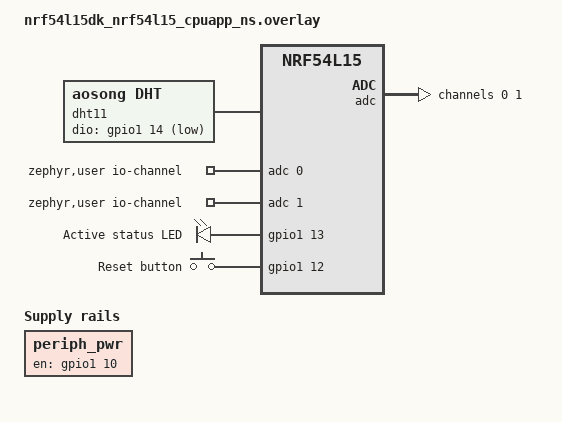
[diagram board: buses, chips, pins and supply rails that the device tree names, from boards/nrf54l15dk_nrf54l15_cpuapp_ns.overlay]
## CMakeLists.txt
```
cmake_minimum_required(VERSION 3.20.0)
find_package(Zephyr REQUIRED HINTS $ENV{ZEPHYR_BASE})

project(sensor_ble)

file(GLOB_RECURSE SOURCE CONFIGGURE_DEPENDS "src/*.c")

target_sources(app PRIVATE ${SOURCE})
```

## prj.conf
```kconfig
CONFIG_LOG=y

CONFIG_GPIO=y
CONFIG_REGULATOR=y
CONFIG_SENSOR=y
CONFIG_DHT_LOCK_IRQS=y
CONFIG_ADC=y

CONFIG_BT=y
CONFIG_BT_DEVICE_NAME="GHMA_Sensor"

CONFIG_REBOOT=y
```

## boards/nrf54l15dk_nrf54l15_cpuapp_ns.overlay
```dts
/ {
	dht11: dht11 {
		compatible = "aosong,dht";
		status = "okay";
		dio-gpios = <&gpio1 14 (GPIO_PULL_UP | GPIO_ACTIVE_LOW)>;
	};

	zephyr,user {
		io-channels = <&adc 0>, <&adc 1>;
	};

	leds {
		compatible = "gpio-leds";

		led_active: led-active {
			gpios = <&gpio1 13 GPIO_ACTIVE_HIGH>;
			label = "Active status LED";
		};
	};

	buttons {
		compatible = "gpio-keys";

		reset_btn: reset-btn {
			gpios = <&gpio1 12 (GPIO_PULL_UP | GPIO_ACTIVE_HIGH)>;
			label = "Reset button";
		};
	};

	periph_pwr: periph-pwr {
		compatible = "regulator-fixed";
		regulator-name = "Peripheral power regulator";
		enable-gpios = <&gpio1 10 (GPIO_PULL_UP | GPIO_ACTIVE_HIGH)>;
		regulator-boot-off;
		startup-delay-us = <0>;
		off-on-delay-us = <0>;
	};
};

&adc {
	#address-cells = <1>;
	#size-cells = <0>;
	status = "okay";

	channel@0 {
		reg = <0>;
		zephyr,gain = "ADC_GAIN_1";
		zephyr,reference = "ADC_REF_INTERNAL";
		zephyr,acquisition-time = <ADC_ACQ_TIME_DEFAULT>;
		zephyr,input-positive = <NRF_SAADC_AIN4>; /* P1.11 */
		zephyr,resolution = <12>;
	};

	channel@1 {
		reg = <1>;
		zephyr,gain = "ADC_GAIN_1";
		zephyr,reference = "ADC_REF_INTERNAL";
		zephyr,acquisition-time = <ADC_ACQ_TIME_DEFAULT>;
		zephyr,input-positive = <NRF_SAADC_AIN2>; /* P1.06 */
		zephyr,resolution = <12>;
		zephyr,oversampling = <8>;
	};
};
```

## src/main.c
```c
#include <zephyr/kernel.h>
#include <zephyr/logging/log.h>
#include <zephyr/drivers/gpio.h>
#include <zephyr/sys/reboot.h>

#include "sensors.h"
#include "ble_comm.h"

#define SENSOR_ID 1

#define SENSOR_DELAY 5 ///< Delay in minutes for the sensor data sending loop
#define SENSOR_DELAY_SEC SENSOR_DELAY * 60
#define SENSOR_DELAY_MSEC SENSOR_DELAY_SEC * 1000
#define PERIPH_PREP_PERIOD 40 ///< Time in seconds to power on peripherals before reading data
#define PERIPH_PREP_PERIOD_MSEC PERIPH_PREP_PERIOD * 1000
#define BT_ACTIVE_PERIOD 500 ///< Time in miliseconds the data is being advertised for
#define RESET_BTN_DELAY 10 ///< Time in seconds the reset button should be hold to reset sensor with setting master id to MASTER_DEFAULT

#define SENS_THREAD_STACK_SIZE 512
#define SENS_THREAD_PRIORITY 5

LOG_MODULE_REGISTER(main, LOG_LEVEL_INF);

#define LED_ACTIVE DT_NODELABEL(led_active)
#define RESET_BTN DT_NODELABEL(reset_btn)

static const struct gpio_dt_spec led_active = GPIO_DT_SPEC_GET(LED_ACTIVE, gpios);
static const struct gpio_dt_spec reset_btn = GPIO_DT_SPEC_GET(RESET_BTN, gpios);

static volatile uint8_t reset_btn_state = 0;
static struct gpio_callback reset_cb;
static void reset_isr(const struct device *dev, struct gpio_callback *cb, gpio_port_pins_t pins);

static struct k_work reset_work;
static void reset_work_handler(struct k_work *work);

static struct SENS_DATA data = {
        .sensor_id = SENSOR_ID,
};

void sens_thread_handling(void);
void reset_handling(struct k_timer *dummy);

K_TIMER_DEFINE(reset_timer, reset_handling, NULL);

int main(void){
        int err;

        LOG_INF("main started");

        if (!gpio_is_ready_dt(&led_active)){
            LOG_ERR("led_active is not ready");
            return -1;
        }
        gpio_pin_configure_dt(&led_active, (GPIO_OUTPUT | GPIO_PULL_UP | GPIO_ACTIVE_HIGH));

        if (!gpio_is_ready_dt(&reset_btn)){
                LOG_ERR("reset_btn is not ready");
                return -1;
        }
        gpio_pin_configure_dt(&reset_btn, (GPIO_INPUT | GPIO_PULL_DOWN));

        gpio_init_callback(&reset_cb, reset_isr, BIT(reset_btn.pin));
        gpio_add_callback_dt(&reset_btn, &reset_cb);
        gpio_pin_interrupt_configure_dt(&reset_btn, GPIO_INT_EDGE_BOTH);

        err = sensors_init(PERIPH_PREP_PERIOD);
        if (err){
                LOG_ERR("sensor_init() failed, err: %d", err);
                return -1;
        }

        err = ble_init();
        if (err){
                LOG_ERR("ble_adv_init failed, err: %d", err);
                return -1;
        }

        k_work_init(&reset_work, reset_work_handler);

        return 0;
}

K_THREAD_DEFINE(sensor_thread, SENS_THREAD_STACK_SIZE, sens_thread_handling, NULL, NULL, NULL, SENS_THREAD_PRIORITY, 0, 0);
void sens_thread_handling(void){
        int err;

        while (1){
                gpio_pin_set_dt(&led_active, 1);

                err = sensors_read(&data);
                if (err){
                        LOG_ERR("sensor_read() failed, err: %d", err);
                        return;
                }

                err = ble_start(&data);
                if (err){
                        LOG_ERR("ble_start failed, err: %d", err);
                        return;
                }

                k_sleep(K_MSEC(BT_ACTIVE_PERIOD));

                err = ble_stop();
                if (err){
                        LOG_ERR("ble_stop failed, err: %d", err);
                        return;
                }
                
                gpio_pin_set_dt(&led_active, 0);

                k_sleep(K_MSEC(SENSOR_DELAY_MSEC - PERIPH_PREP_PERIOD_MSEC - BT_ACTIVE_PERIOD));
        }
}

void reset_handling(struct k_timer *dummy){
        irq_lock();

        LOG_INF("Rebooting system...");

        gpio_pin_set_dt(&led_active, 0);

        sys_reboot(SYS_REBOOT_COLD);
        while (1){}
}

void reset_isr(const struct device *dev, struct gpio_callback *cb, gpio_port_pins_t pins){
        reset_btn_state = gpio_pin_get_dt(&reset_btn);
        
        if (reset_btn_state){
                k_timer_start(&reset_timer, K_SECONDS(RESET_BTN_DELAY), K_FOREVER);
                k_work_submit(&reset_work);
        }else{
                k_timer_stop(&reset_timer);
        }
}


void reset_work_handler(struct k_work *work){
        uint8_t led_state = gpio_pin_get_dt(&led_active);

        while (reset_btn_state){
                gpio_pin_toggle_dt(&led_active);
                k_sleep(K_MSEC(500));
        }

        gpio_pin_set_dt(&led_active, led_state);
}
```

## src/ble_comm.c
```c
#include "ble_comm.h"

#define DEVICE_NAME CONFIG_BT_DEVICE_NAME
#define DEVICE_NAME_LEN (sizeof(DEVICE_NAME) - 1)

#define ENV_SENSING_SERV_UUID 0x181A

LOG_MODULE_REGISTER(ble_comm, LOG_LEVEL_ERR);

static const struct bt_le_adv_param *adv_param = BT_LE_ADV_PARAM(
    BT_LE_ADV_OPT_NONE,
    320,
    320,
    NULL
);

static struct ServiceData service_data = {
    .uuid = ENV_SENSING_SERV_UUID,
    .data = {
        .temperature = 0,
        .humidity = 0,
        .co2 = 0,
        .soil_moisture = 0,
    }
};

static const struct bt_data ad[] = {
    BT_DATA_BYTES(BT_DATA_FLAGS, (BT_LE_AD_GENERAL | BT_LE_AD_NO_BREDR)),
    BT_DATA(BT_DATA_NAME_COMPLETE, DEVICE_NAME, DEVICE_NAME_LEN),
    BT_DATA_BYTES(BT_DATA_UUID16_ALL, BT_UUID_16_ENCODE(ENV_SENSING_SERV_UUID)),
    BT_DATA(BT_DATA_SVC_DATA16, (unsigned char *)&service_data, sizeof(service_data)),
};

uint8_t ble_init(void){
    int err;

    err = bt_enable(NULL);
    if (err){
        LOG_ERR("bt_enbale failed, err: %d", err);
        return err;
    }

    return 0;
}

uint8_t ble_start(struct SENS_DATA *adv_data){
    service_data.data = *adv_data;

    return bt_le_adv_start(adv_param, ad, ARRAY_SIZE(ad), NULL, 0);
}

uint8_t ble_stop(void){
    return bt_le_adv_stop();
}

uint8_t ble_update(struct SENS_DATA *adv_data){
    service_data.data = *adv_data;

    return bt_le_adv_update_data(ad, ARRAY_SIZE(ad), NULL, 0);
}
```

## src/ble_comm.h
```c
#ifndef BLE_COMM_H
#define BLE_COMM_H

#include <zephyr/logging/log.h>
#include <zephyr/dsp/types.h>
#include <zephyr/bluetooth/bluetooth.h>
#include <zephyr/bluetooth/gap.h>
#include <zephyr/bluetooth/uuid.h>
#include <zephyr/bluetooth/conn.h>

#include "sensors.h"

struct ServiceData {
    uint16_t uuid;
    struct SENS_DATA data;
};

/**
 * \brief Initializes BLE
 * 
 * \return 0 on success. otherwise error code
 */
uint8_t ble_init(void);

/**
 * \brief Starts BLE advertising
 * 
 * \param adv_data Pointer to the SENS_DATA structure that contains sensor data
 * \return 0 on success. otherwise error code
 */
uint8_t ble_start(struct SENS_DATA *adv_data);

/**
 * \brief Stops BLE advertising
 *
 * \return 0 on success. otherwise error code
 */
uint8_t ble_stop(void);

/**
 * \brief Updates BLE advertising data
 * 
 * \param adv_data Pointer to the SENS_DATA structure that contains sensor data
 * \return 0 on success. otherwise error code
 */
uint8_t ble_update(struct SENS_DATA *adv_data);

#endif
```

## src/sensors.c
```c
#include "sensors.h"

#define ADC_MAX_VAL 4095
#define ADC_TO_PERCENTAGE(raw_adc) ((raw_adc) * 100 / ADC_MAX_VAL)

#define PERIPH_PWR DT_NODELABEL(periph_pwr)

LOG_MODULE_REGISTER(sensors, LOG_LEVEL_ERR);

static const struct device *dht11_dev = DEVICE_DT_GET(DT_NODELABEL(dht11));
static struct sensor_value temp_val, hum_val;

static const struct adc_dt_spec co2_ch = ADC_DT_SPEC_GET_BY_IDX(DT_PATH(zephyr_user), 0);
static uint32_t co2_buf;

struct adc_sequence co2_seq = {
        .buffer = &co2_buf,
        .buffer_size = sizeof(co2_buf),
};

static const struct adc_dt_spec moist_ch = ADC_DT_SPEC_GET_BY_IDX(DT_PATH(zephyr_user), 1);
static uint32_t moist_buf;

struct adc_sequence moist_seq = {
        .buffer = &moist_buf,
        .buffer_size = sizeof(moist_buf),
};

static const struct device *periph_pwr = DEVICE_DT_GET(PERIPH_PWR);

static uint16_t periph_prep_period;

uint8_t sensors_init(uint16_t periph_prep_s){
    int err;

    periph_prep_period = periph_prep_s;

    if (!device_is_ready(periph_pwr)){
        LOG_ERR("periph_pwr pin is not ready");
        return -1;
    }
    regulator_disable(periph_pwr);

    if (!device_is_ready(dht11_dev)){
        LOG_ERR("GPIO is not ready");
        return -1;
    }

    if (!adc_is_ready_dt(&co2_ch)){
        LOG_ERR("ADC co2 channel is not ready");
        return -1;
    }

    if (!adc_is_ready_dt(&moist_ch)){
        LOG_ERR("ADC soil moisture channel is not ready");
        return -1;
    }

    err = adc_channel_setup_dt(&co2_ch);
    if (err < 0){
        LOG_ERR("ADC co2 channel setup failed, err: %d", err);
        return err;
    }

    err = adc_channel_setup_dt(&moist_ch);
    if (err < 0){
        LOG_ERR("ADC soil moisture channel setup failed, err: %d", err);
        return err;
    }

    err = adc_sequence_init_dt(&co2_ch, &co2_seq);
    if (err < 0){
        LOG_ERR("Could not inititalize co2_seq");
        return err;
    }

    err = adc_sequence_init_dt(&moist_ch, &moist_seq);
    if (err < 0){
        LOG_ERR("Could not inititalize moist_seq");
        return err;
    }

    return 0;
}

uint8_t sensors_read(struct SENS_DATA *data){
    int err;

    regulator_enable(periph_pwr);

    k_sleep(K_SECONDS(periph_prep_period));

    err = sensor_sample_fetch(dht11_dev);
    if (err){
        LOG_ERR("sample_fetch failed, err: %d", err);
        return err;
    }

    err = sensor_channel_get(dht11_dev, SENSOR_CHAN_AMBIENT_TEMP, &temp_val);
    if (err){
        LOG_ERR("Failed to get temperature channel, err: %d", err);
        return err;
    }

    err = sensor_channel_get(dht11_dev, SENSOR_CHAN_HUMIDITY, &hum_val);
    if (err){
        LOG_ERR("Failed to get humidity channel, err: %d", err);
        return err;
    }

    err = adc_read_dt(&co2_ch, &co2_seq);
    if (err < 0){
        LOG_ERR("Failed to read co2, err: %d", err);
        return err;
    }

    err = adc_read_dt(&moist_ch, &moist_seq);
    if (err < 0){
        LOG_ERR("Failed to read soil moisture, err: %d", err);
        return err;
    }

    regulator_disable(periph_pwr);

    data->temperature = temp_val.val1;
    data->humidity = hum_val.val1;
    data->co2 = ADC_TO_PERCENTAGE(co2_buf);
    data->soil_moisture = ADC_TO_PERCENTAGE(moist_buf);

    return 0;
}
```

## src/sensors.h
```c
#ifndef SENSORS_H
#define SENSORS_H

#include <zephyr/logging/log.h>
#include <zephyr/dsp/types.h>
#include <zephyr/drivers/sensor.h>
#include <zephyr/drivers/adc.h>
#include <zephyr/drivers/gpio.h>
#include <zephyr/drivers/regulator.h>

struct SENS_DATA {
    uint8_t sensor_id;
    int8_t temperature;
    uint8_t humidity;
    uint8_t co2;
    uint8_t soil_moisture;
};

uint8_t sensors_init(uint16_t periph_prep_s);
uint8_t sensors_read(struct SENS_DATA *data);

#endif
```
